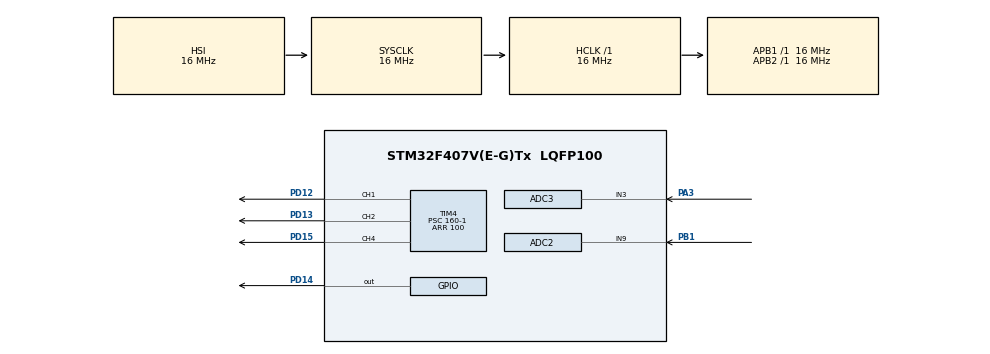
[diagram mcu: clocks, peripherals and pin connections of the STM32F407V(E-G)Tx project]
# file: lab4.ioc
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ADC1.Channel-1\#ChannelRegularConversion=ADC_CHANNEL_TEMPSENSOR
ADC1.ClockPrescaler=ADC_CLOCK_SYNC_PCLK_DIV8
ADC1.ContinuousConvMode=ENABLE
ADC1.NbrOfConversionFlag=1
ADC1.Rank-1\#ChannelRegularConversion=1
ADC1.SamplingTime-1\#ChannelRegularConversion=ADC_SAMPLETIME_480CYCLES
ADC1.master=1
ADC2.Channel-0\#ChannelRegularConversion=ADC_CHANNEL_9
ADC2.ClockPrescaler=ADC_CLOCK_SYNC_PCLK_DIV8
ADC2.ContinuousConvMode=ENABLE
ADC2.NbrOfConversionFlag=1
ADC2.Rank-0\#ChannelRegularConversion=1
ADC2.SamplingTime-0\#ChannelRegularConversion=ADC_SAMPLETIME_480CYCLES
ADC3.Channel-0\#ChannelRegularConversion=ADC_CHANNEL_3
ADC3.ClockPrescaler=ADC_CLOCK_SYNC_PCLK_DIV8
ADC3.ContinuousConvMode=ENABLE
ADC3.NbrOfConversionFlag=1
ADC3.Rank-0\#ChannelRegularConversion=1
ADC3.SamplingTime-0\#ChannelRegularConversion=ADC_SAMPLETIME_480CYCLES
Mcu.Family=STM32F4
Mcu.Name=STM32F407V(E-G)Tx
Mcu.Package=LQFP100
NVIC.PriorityGroup=NVIC_PRIORITYGROUP_4
NVIC.TIM4_IRQn=true\:0\:0\:false\:false\:true\:true\:true
PA3.Signal=ADCx_IN3
PB1.Signal=ADCx_IN9
PD12.Signal=S_TIM4_CH1
PD13.Signal=S_TIM4_CH2
PD14.Signal=GPIO_Output
PD15.Signal=S_TIM4_CH4
ProjectManager.HeapSize=0x200
ProjectManager.StackSize=0x400
ProjectManager.TargetToolchain=STM32CubeIDE
RCC.AHBFreq_Value=16000000
RCC.APB1Freq_Value=16000000
RCC.APB2Freq_Value=16000000
RCC.CortexFreq_Value=16000000
RCC.HSE_VALUE=25000000
RCC.HSI_VALUE=16000000
RCC.LSE_VALUE=32768
RCC.SYSCLKFreq_VALUE=16000000
RCC.VCOOutputFreq_Value=192000000
SH.ADCx_IN3.0=ADC3_IN3,IN3
SH.ADCx_IN9.0=ADC2_IN9,IN9
SH.S_TIM4_CH1.0=TIM4_CH1,PWM Generation1 CH1
SH.S_TIM4_CH2.0=TIM4_CH2,PWM Generation2 CH2
SH.S_TIM4_CH4.0=TIM4_CH4,PWM Generation4 CH4
TIM4.AutoReloadPreload=TIM_AUTORELOAD_PRELOAD_ENABLE
TIM4.Channel-PWM\ Generation1\ CH1=TIM_CHANNEL_1
TIM4.Channel-PWM\ Generation2\ CH2=TIM_CHANNEL_2
TIM4.Channel-PWM\ Generation4\ CH4=TIM_CHANNEL_4
TIM4.Period=100
TIM4.Prescaler=160-1
VP_ADC1_TempSens_Input.Mode=IN-TempSens
VP_TIM4_VS_ClockSourceINT.Mode=Internal
board=custom

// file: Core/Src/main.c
/* USER CODE BEGIN Header */
/**
  ******************************************************************************
  * @file           : main.c
  * @brief          : Main program body
  ******************************************************************************
  * @attention
  *
  * <h2><center>&copy; Copyright (c) 2021 STMicroelectronics.
  * All rights reserved.</center></h2>
  *
  * This software component is licensed by ST under BSD 3-Clause license,
  * the "License"; You may not use this file except in compliance with the
  * License. You may obtain a copy of the License at:
  *                        opensource.org/licenses/BSD-3-Clause
  *
  ******************************************************************************
  */
/* USER CODE END Header */
#include "main.h"

ADC_HandleTypeDef hadc1;
ADC_HandleTypeDef hadc2;
ADC_HandleTypeDef hadc3;

TIM_HandleTypeDef htim4;

/* USER CODE BEGIN PV */

enum
{
	OFF,
	ON
};

#define LIMIThigt 75
#define LIMITlow 65

uint32_t adcValue = 0;
volatile HAL_StatusTypeDef adcPoolResult;

uint32_t tick_count = 0;
uint8_t emergency_pot = 0;
uint8_t emergency_extern = 0;
uint8_t emergency_intern = 0;
uint8_t emergency_res = 0;

/* USER CODE END PV */

void SystemClock_Config(void);
static void MX_GPIO_Init(void);
static void MX_ADC1_Init(void);
static void MX_ADC2_Init(void);
static void MX_ADC3_Init(void);
static void MX_TIM4_Init(void);

/* USER CODE BEGIN 0 */
void Tick_count()
{//if
	tick_count++;
}

void ADC_pot()
{
	  adcPoolResult = HAL_ADC_PollForConversion(&hadc3, 1);

	  if(adcPoolResult == HAL_OK)
		  adcValue = HAL_ADC_GetValue(&hadc3);

	  adcValue /= 40;//(/4000*100)
	  adcValue > 100 ? adcValue = 100 : adcValue;
	  TIM4->CCR4 = adcValue;

	  (adcValue > LIMIThigt) ? (emergency_pot = ON) : (emergency_pot);
	  (adcValue < LIMITlow) ? (emergency_pot = OFF) : (emergency_pot);
}

void ADC_extern()
{
	  adcPoolResult = HAL_ADC_PollForConversion(&hadc2, 1);

	  if(adcPoolResult == HAL_OK)
		  adcValue = HAL_ADC_GetValue(&hadc2);

	  adcValue = (2500 - adcValue)/15;
	  adcValue > 100 ? adcValue = 100 : adcValue;
	  TIM4->CCR1 = adcValue;

	  //(adcValue > LIMIT) ? (emergency_extern = ON) : (emergency_extern = OFF);
	  (adcValue > LIMIThigt) ? (emergency_extern = ON) : (emergency_extern);
	  (adcValue < LIMITlow) ? (emergency_extern = OFF) : (emergency_extern);
}

void ADC_intern()
{
	  adcPoolResult = HAL_ADC_PollForConversion(&hadc1, 1);

	  if(adcPoolResult == HAL_OK)
		  adcValue = HAL_ADC_GetValue(&hadc1);

	  adcValue = (adcValue - 1000)/2;
	  adcValue > 100 ? adcValue = 100 : adcValue;
	  TIM4->CCR2 = adcValue;

	  //(adcValue > LIMIT) ? (emergency_intern = ON) : (emergency_intern = OFF);
	  (adcValue > LIMIThigt) ? (emergency_intern = ON) : (emergency_intern);
	  (adcValue < LIMITlow) ? (emergency_intern = OFF) : (emergency_intern);
}

void LED_emergency()
{
	emergency_res = emergency_pot + emergency_extern + emergency_intern;
	switch(emergency_res)
	{
	  case 1:
		  if (tick_count > 500)//1 Hz
		  {
			  HAL_GPIO_TogglePin(GPIOD, GPIO_PIN_14);
			  tick_count = 0;
		  }
		  break;
	  case 2:
		  if (tick_count > 200)//2.5 Hz
		  {
			  HAL_GPIO_TogglePin(GPIOD, GPIO_PIN_14);
			  tick_count = 0;
		  }
		  break;
	  case 3:
		  if (tick_count > 100)//5 Hz
		  {
			  HAL_GPIO_TogglePin(GPIOD, GPIO_PIN_14);
			  tick_count = 0;
		  }
		  break;
	  default:
		  if(HAL_GPIO_ReadPin(GPIOD, GPIO_PIN_14))
			  HAL_GPIO_WritePin(GPIOD, GPIO_PIN_14, GPIO_PIN_RESET);
		  break;
	}

}

/* USER CODE END 0 */

int main(void)
{

  /* MCU Configuration--------------------------------------------------------*/

  /* Reset of all peripherals, Initializes the Flash interface and the Systick. */
  HAL_Init();

  /* Configure the system clock */
  SystemClock_Config();

  /* Initialize all configured peripherals */
  MX_GPIO_Init();
  MX_ADC1_Init();
  MX_ADC2_Init();
  MX_ADC3_Init();
  MX_TIM4_Init();
  /* USER CODE BEGIN 2 */
  HAL_TIM_Base_Start_IT(&htim4);
  HAL_TIM_PWM_Start(&htim4, TIM_CHANNEL_1);
  HAL_TIM_PWM_Start(&htim4, TIM_CHANNEL_2);
  HAL_TIM_PWM_Start(&htim4, TIM_CHANNEL_4);
  /* USER CODE END 2 */

  /* Infinite loop */
  /* USER CODE BEGIN WHILE */

  HAL_ADC_Start(&hadc1);
  HAL_ADC_Start(&hadc2);
  HAL_ADC_Start(&hadc3);

  while (1)
  {
	  ADC_pot();
	  ADC_extern();
	  ADC_intern();
	  LED_emergency();

    /* USER CODE END WHILE */

  }
}

void SystemClock_Config(void)
{
  RCC_OscInitTypeDef RCC_OscInitStruct = {0};
  RCC_ClkInitTypeDef RCC_ClkInitStruct = {0};

  /** Configure the main internal regulator output voltage
  */
  __HAL_RCC_PWR_CLK_ENABLE();
  __HAL_PWR_VOLTAGESCALING_CONFIG(PWR_REGULATOR_VOLTAGE_SCALE1);
  /** Initializes the RCC Oscillators according to the specified parameters
  * in the RCC_OscInitTypeDef structure.
  */
  RCC_OscInitStruct.OscillatorType = RCC_OSCILLATORTYPE_HSI;
  RCC_OscInitStruct.HSIState = RCC_HSI_ON;
  RCC_OscInitStruct.HSICalibrationValue = RCC_HSICALIBRATION_DEFAULT;
  RCC_OscInitStruct.PLL.PLLState = RCC_PLL_NONE;
  if (HAL_RCC_OscConfig(&RCC_OscInitStruct) != HAL_OK)
  {
    Error_Handler();
  }
  /** Initializes the CPU, AHB and APB buses clocks
  */
  RCC_ClkInitStruct.ClockType = RCC_CLOCKTYPE_HCLK|RCC_CLOCKTYPE_SYSCLK
                              |RCC_CLOCKTYPE_PCLK1|RCC_CLOCKTYPE_PCLK2;
  RCC_ClkInitStruct.SYSCLKSource = RCC_SYSCLKSOURCE_HSI;
  RCC_ClkInitStruct.AHBCLKDivider = RCC_SYSCLK_DIV1;
  RCC_ClkInitStruct.APB1CLKDivider = RCC_HCLK_DIV1;
  RCC_ClkInitStruct.APB2CLKDivider = RCC_HCLK_DIV1;

  if (HAL_RCC_ClockConfig(&RCC_ClkInitStruct, FLASH_LATENCY_0) != HAL_OK)
  {
    Error_Handler();
  }
}

static void MX_ADC1_Init(void)
{

  ADC_ChannelConfTypeDef sConfig = {0};

  /** Configure the global features of the ADC (Clock, Resolution, Data Alignment and number of conversion)
  */
  hadc1.Instance = ADC1;
  hadc1.Init.ClockPrescaler = ADC_CLOCK_SYNC_PCLK_DIV8;
  hadc1.Init.Resolution = ADC_RESOLUTION_12B;
  hadc1.Init.ScanConvMode = DISABLE;
  hadc1.Init.ContinuousConvMode = ENABLE;
  hadc1.Init.DiscontinuousConvMode = DISABLE;
  hadc1.Init.ExternalTrigConvEdge = ADC_EXTERNALTRIGCONVEDGE_NONE;
  hadc1.Init.ExternalTrigConv = ADC_SOFTWARE_START;
  hadc1.Init.DataAlign = ADC_DATAALIGN_RIGHT;
  hadc1.Init.NbrOfConversion = 1;
  hadc1.Init.DMAContinuousRequests = DISABLE;
  hadc1.Init.EOCSelection = ADC_EOC_SINGLE_CONV;
  if (HAL_ADC_Init(&hadc1) != HAL_OK)
  {
    Error_Handler();
  }
  /** Configure for the selected ADC regular channel its corresponding rank in the sequencer and its sample time.
  */
  sConfig.Channel = ADC_CHANNEL_TEMPSENSOR;
  sConfig.Rank = 1;
  sConfig.SamplingTime = ADC_SAMPLETIME_480CYCLES;
  if (HAL_ADC_ConfigChannel(&hadc1, &sConfig) != HAL_OK)
  {
    Error_Handler();
  }

}

static void MX_ADC2_Init(void)
{

  ADC_ChannelConfTypeDef sConfig = {0};

  /** Configure the global features of the ADC (Clock, Resolution, Data Alignment and number of conversion)
  */
  hadc2.Instance = ADC2;
  hadc2.Init.ClockPrescaler = ADC_CLOCK_SYNC_PCLK_DIV8;
  hadc2.Init.Resolution = ADC_RESOLUTION_12B;
  hadc2.Init.ScanConvMode = DISABLE;
  hadc2.Init.ContinuousConvMode = ENABLE;
  hadc2.Init.DiscontinuousConvMode = DISABLE;
  hadc2.Init.ExternalTrigConvEdge = ADC_EXTERNALTRIGCONVEDGE_NONE;
  hadc2.Init.ExternalTrigConv = ADC_SOFTWARE_START;
  hadc2.Init.DataAlign = ADC_DATAALIGN_RIGHT;
  hadc2.Init.NbrOfConversion = 1;
  hadc2.Init.DMAContinuousRequests = DISABLE;
  hadc2.Init.EOCSelection = ADC_EOC_SINGLE_CONV;
  if (HAL_ADC_Init(&hadc2) != HAL_OK)
  {
    Error_Handler();
  }
  /** Configure for the selected ADC regular channel its corresponding rank in the sequencer and its sample time.
  */
  sConfig.Channel = ADC_CHANNEL_9;
  sConfig.Rank = 1;
  sConfig.SamplingTime = ADC_SAMPLETIME_480CYCLES;
  if (HAL_ADC_ConfigChannel(&hadc2, &sConfig) != HAL_OK)
  {
    Error_Handler();
  }

}

static void MX_ADC3_Init(void)
{

  ADC_ChannelConfTypeDef sConfig = {0};

  /** Configure the global features of the ADC (Clock, Resolution, Data Alignment and number of conversion)
  */
  hadc3.Instance = ADC3;
  hadc3.Init.ClockPrescaler = ADC_CLOCK_SYNC_PCLK_DIV8;
  hadc3.Init.Resolution = ADC_RESOLUTION_12B;
  hadc3.Init.ScanConvMode = DISABLE;
  hadc3.Init.ContinuousConvMode = ENABLE;
  hadc3.Init.DiscontinuousConvMode = DISABLE;
  hadc3.Init.ExternalTrigConvEdge = ADC_EXTERNALTRIGCONVEDGE_NONE;
  hadc3.Init.ExternalTrigConv = ADC_SOFTWARE_START;
  hadc3.Init.DataAlign = ADC_DATAALIGN_RIGHT;
  hadc3.Init.NbrOfConversion = 1;
  hadc3.Init.DMAContinuousRequests = DISABLE;
  hadc3.Init.EOCSelection = ADC_EOC_SINGLE_CONV;
  if (HAL_ADC_Init(&hadc3) != HAL_OK)
  {
    Error_Handler();
  }
  /** Configure for the selected ADC regular channel its corresponding rank in the sequencer and its sample time.
  */
  sConfig.Channel = ADC_CHANNEL_3;
  sConfig.Rank = 1;
  sConfig.SamplingTime = ADC_SAMPLETIME_480CYCLES;
  if (HAL_ADC_ConfigChannel(&hadc3, &sConfig) != HAL_OK)
  {
    Error_Handler();
  }

}

static void MX_TIM4_Init(void)
{

  TIM_ClockConfigTypeDef sClockSourceConfig = {0};
  TIM_MasterConfigTypeDef sMasterConfig = {0};
  TIM_OC_InitTypeDef sConfigOC = {0};

  htim4.Instance = TIM4;
  htim4.Init.Prescaler = 160-1;
  htim4.Init.CounterMode = TIM_COUNTERMODE_UP;
  htim4.Init.Period = 100;
  htim4.Init.ClockDivision = TIM_CLOCKDIVISION_DIV1;
  htim4.Init.AutoReloadPreload = TIM_AUTORELOAD_PRELOAD_ENABLE;
  if (HAL_TIM_Base_Init(&htim4) != HAL_OK)
  {
    Error_Handler();
  }
  sClockSourceConfig.ClockSource = TIM_CLOCKSOURCE_INTERNAL;
  if (HAL_TIM_ConfigClockSource(&htim4, &sClockSourceConfig) != HAL_OK)
  {
    Error_Handler();
  }
  if (HAL_TIM_PWM_Init(&htim4) != HAL_OK)
  {
    Error_Handler();
  }
  sMasterConfig.MasterOutputTrigger = TIM_TRGO_RESET;
  sMasterConfig.MasterSlaveMode = TIM_MASTERSLAVEMODE_DISABLE;
  if (HAL_TIMEx_MasterConfigSynchronization(&htim4, &sMasterConfig) != HAL_OK)
  {
    Error_Handler();
  }
  sConfigOC.OCMode = TIM_OCMODE_PWM1;
  sConfigOC.Pulse = 0;
  sConfigOC.OCPolarity = TIM_OCPOLARITY_HIGH;
  sConfigOC.OCFastMode = TIM_OCFAST_DISABLE;
  if (HAL_TIM_PWM_ConfigChannel(&htim4, &sConfigOC, TIM_CHANNEL_1) != HAL_OK)
  {
    Error_Handler();
  }
  if (HAL_TIM_PWM_ConfigChannel(&htim4, &sConfigOC, TIM_CHANNEL_2) != HAL_OK)
  {
    Error_Handler();
  }
  if (HAL_TIM_PWM_ConfigChannel(&htim4, &sConfigOC, TIM_CHANNEL_4) != HAL_OK)
  {
    Error_Handler();
  }
  HAL_TIM_MspPostInit(&htim4);

}

static void MX_GPIO_Init(void)
{
  GPIO_InitTypeDef GPIO_InitStruct = {0};

  /* GPIO Ports Clock Enable */
  __HAL_RCC_GPIOA_CLK_ENABLE();
  __HAL_RCC_GPIOB_CLK_ENABLE();
  __HAL_RCC_GPIOD_CLK_ENABLE();

  /*Configure GPIO pin Output Level */
  HAL_GPIO_WritePin(GPIOD, GPIO_PIN_14, GPIO_PIN_RESET);

  /*Configure GPIO pin : PD14 */
  GPIO_InitStruct.Pin = GPIO_PIN_14;
  GPIO_InitStruct.Mode = GPIO_MODE_OUTPUT_PP;
  GPIO_InitStruct.Pull = GPIO_NOPULL;
  GPIO_InitStruct.Speed = GPIO_SPEED_FREQ_LOW;
  HAL_GPIO_Init(GPIOD, &GPIO_InitStruct);

}

void Error_Handler(void)
{
  __disable_irq();
  while (1)
  {
  }
}

/************************ (C) COPYRIGHT STMicroelectronics *****END OF FILE****/
